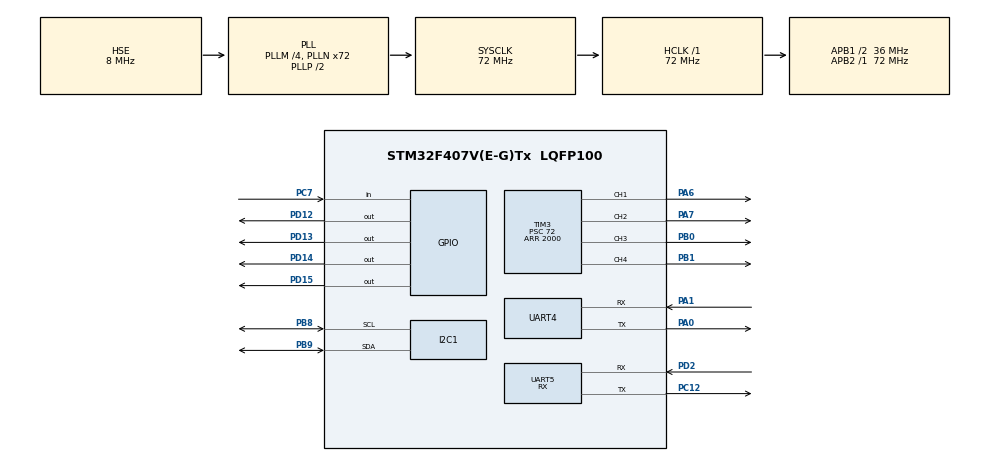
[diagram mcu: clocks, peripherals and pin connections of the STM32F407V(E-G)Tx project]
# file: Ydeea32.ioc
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FREERTOS.INCLUDE_vTaskDelayUntil=1
FREERTOS.Tasks01=defaultTask,-1,128,StartDefaultTask,Default,NULL,Dynamic,NULL,NULL;testTask10ms,0,128,Main_10ms,Default,NULL,Static,testTask10msBuffer,testTask10msControlBlock;IdleTask,-3,128,IdleTask_func,Default,NULL,Dynamic,NULL,NULL;SensorInputTask,2,3000,SensorInputTask_func,Default,NULL,Dynamic,NULL,NULL;AttitudeCalc,1,3000,AttitudeCalc_func,Default,NULL,Static,AttitudeCalcBuffer,AttitudeCalcControlBlock;telemetryTask,-2,512,telemetryTask_func,Default,NULL,Dynamic,NULL,NULL;OutputTask,1,2400,OutputTask_Main,Default,NULL,Dynamic,NULL,NULL;rcInputTask,3,128,rcInputTask_func,Default,NULL,Dynamic,NULL,NULL
FREERTOS.configTOTAL_HEAP_SIZE=26360
I2C1.I2C_Mode=I2C_Standard
Mcu.Family=STM32F4
Mcu.Name=STM32F407V(E-G)Tx
Mcu.Package=LQFP100
NVIC.PriorityGroup=NVIC_PRIORITYGROUP_4
NVIC.TIM1_UP_TIM10_IRQn=true\:0\:0\:false\:false\:true\:false\:false\:true
NVIC.TimeBase=TIM1_UP_TIM10_IRQn
NVIC.TimeBaseIP=TIM1
NVIC.UART5_IRQn=true\:5\:0\:false\:false\:true\:true\:true\:true
PA0-WKUP.Mode=Multiprocessor_communication
PA0-WKUP.Signal=UART4_TX
PA1.Mode=Multiprocessor_communication
PA1.Signal=UART4_RX
PA13.Mode=JTAG_4_pins
PA13.Signal=SYS_JTMS-SWDIO
PA14.Mode=JTAG_4_pins
PA14.Signal=SYS_JTCK-SWCLK
PA15.Mode=JTAG_4_pins
PA15.Signal=SYS_JTDI
PA6.GPIO_PuPd=GPIO_PULLDOWN
PA6.GPIO_Speed=GPIO_SPEED_FREQ_MEDIUM
PA6.Signal=S_TIM3_CH1
PA7.GPIO_PuPd=GPIO_PULLDOWN
PA7.GPIO_Speed=GPIO_SPEED_FREQ_MEDIUM
PA7.Signal=S_TIM3_CH2
PB0.GPIO_PuPd=GPIO_PULLDOWN
PB0.GPIO_Speed=GPIO_SPEED_FREQ_MEDIUM
PB0.Signal=S_TIM3_CH3
PB1.GPIO_PuPd=GPIO_PULLDOWN
PB1.GPIO_Speed=GPIO_SPEED_FREQ_MEDIUM
PB1.Signal=S_TIM3_CH4
PB3.Mode=JTAG_4_pins
PB3.Signal=SYS_JTDO-SWO
PB8.GPIO_Pu=GPIO_PULLUP
PB8.Mode=I2C
PB8.Signal=I2C1_SCL
PB9.GPIO_Pu=GPIO_PULLUP
PB9.Mode=I2C
PB9.Signal=I2C1_SDA
PC12.Mode=Asynchronous
PC12.Signal=UART5_TX
PC7.Signal=GPIO_Input
PD12.Signal=GPIO_Output
PD13.Signal=GPIO_Output
PD14.Signal=GPIO_Output
PD15.Signal=GPIO_Output
PD2.Mode=Asynchronous
PD2.Signal=UART5_RX
PH0-OSC_IN.Mode=HSE-External-Oscillator
PH0-OSC_IN.Signal=RCC_OSC_IN
PH1-OSC_OUT.Mode=HSE-External-Oscillator
PH1-OSC_OUT.Signal=RCC_OSC_OUT
ProjectManager.HeapSize=0x200
ProjectManager.StackSize=0x400
ProjectManager.TargetToolchain=STM32CubeIDE
RCC.48MHZClocksFreq_Value=48000000
RCC.AHBFreq_Value=72000000
RCC.APB1CLKDivider=RCC_HCLK_DIV2
RCC.APB1Freq_Value=36000000
RCC.APB1TimFreq_Value=72000000
RCC.APB2Freq_Value=72000000
RCC.APB2TimFreq_Value=72000000
RCC.CortexFreq_Value=72000000
RCC.HCLKFreq_Value=72000000
RCC.HSE_VALUE=8000000
RCC.HSI_VALUE=16000000
RCC.LSE_VALUE=32768
RCC.PLLM=4
RCC.PLLN=72
RCC.PLLQ=3
RCC.PLLSourceVirtual=RCC_PLLSOURCE_HSE
RCC.SYSCLKFreq_VALUE=72000000
RCC.SYSCLKSource=RCC_SYSCLKSOURCE_PLLCLK
RCC.VCOOutputFreq_Value=144000000
SH.S_TIM3_CH1.0=TIM3_CH1,Output Compare1 CH1
SH.S_TIM3_CH2.0=TIM3_CH2,Output Compare2 CH2
SH.S_TIM3_CH3.0=TIM3_CH3,Output Compare3 CH3
SH.S_TIM3_CH4.0=TIM3_CH4,Output Compare4 CH4
TIM3.AutoReloadPreload=TIM_AUTORELOAD_PRELOAD_ENABLE
TIM3.Channel-Output\ Compare1\ CH1=TIM_CHANNEL_1
TIM3.Channel-Output\ Compare2\ CH2=TIM_CHANNEL_2
TIM3.Channel-Output\ Compare3\ CH3=TIM_CHANNEL_3
TIM3.Channel-Output\ Compare4\ CH4=TIM_CHANNEL_4
TIM3.CounterMode=TIM_COUNTERMODE_DOWN
TIM3.OCMode_1=TIM_OCMODE_ACTIVE
TIM3.OCMode_2=TIM_OCMODE_ACTIVE
TIM3.OCMode_3=TIM_OCMODE_ACTIVE
TIM3.OCMode_4=TIM_OCMODE_ACTIVE
TIM3.Period=2000
TIM3.Prescaler=72
UART4.VirtualMode=Asynchronous
UART5.Mode=MODE_RX
UART5.VirtualMode=Asynchronous
VP_FREERTOS_VS_CMSIS_V1.Mode=CMSIS_V1
VP_SYS_VS_tim1.Mode=TIM1
VP_TIM3_VS_ClockSourceINT.Mode=Internal
board=custom

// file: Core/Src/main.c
/* USER CODE BEGIN Header */
/**
  ******************************************************************************
  * @file           : main.c
  * @brief          : Main program body
  ******************************************************************************
  * @attention
  *
  * <h2><center>&copy; Copyright (c) 2019 STMicroelectronics.
  * All rights reserved.</center></h2>
  *
  * This software component is licensed by ST under Ultimate Liberty license
  * SLA0044, the "License"; You may not use this file except in compliance with
  * the License. You may obtain a copy of the License at:
  *                             www.st.com/SLA0044
  *	  //ADXL345: R: 0xA7 W: 0xA6
  *  //L3g4200D: R: 0xD3 W: 0xD2
  ******************************************************************************
  */
/* USER CODE END Header */
#include "main.h"
#include "cmsis_os.h"

/* USER CODE BEGIN Includes */
#include "sensors.h"
#include "attitude_calc.h"
#include "pid.h"
#include "output.h"
/* USER CODE END Includes */

/* USER CODE BEGIN PTD */
typedef struct {
	short PitchAngle;
	short RollAngle;
	short RawYawRate;
}usefulData_t;
typedef struct {
	usefulData_t Data;
	unsigned char FrameNumber;
	unsigned char StopBuffer;
}telemetryStruct_t;

/* USER CODE END PTD */

/* USER CODE BEGIN PD */
//#define USE_HAL_UART_REGISTER_CALLBACKS
/* USER CODE END PD */

I2C_HandleTypeDef hi2c1;

TIM_HandleTypeDef htim3;

UART_HandleTypeDef huart4;
UART_HandleTypeDef huart5;

osThreadId defaultTaskHandle;
osThreadId testTask10msHandle;
uint32_t testTask10msBuffer[ 128 ];
osStaticThreadDef_t testTask10msControlBlock;
osThreadId IdleTaskHandle;
osThreadId SensorInputTaskHandle;
osThreadId AttitudeCalcHandle;
uint32_t AttitudeCalcBuffer[ 3000 ];
osStaticThreadDef_t AttitudeCalcControlBlock;
osThreadId telemetryTaskHandle;
osThreadId OutputTaskHandle;
osThreadId rcInputTaskHandle;
/* USER CODE BEGIN PV */
uint8_t firstRun;
uint32_t tickValOn, tickValOff, sensorInputTime, telemetryTime, rcInputTime;
/*===Telemetry Variables===*/
telemetryStruct_t telemetryData;
/*=== Structure where to put the read data from the gyro ===*/
gyro_input_struct_t GYRO_RAW_INPUT_STRUCT;
acc_input_struct_t ACC_RAW_INPUT_STRUCT;
//mag_input_struct_t MAG_RAW_INPUT_STRUCT;

unsigned char rcDataReceived, syncIsRunning;
unsigned char rcDataBuffer[40];

extern unsigned char Red, Green, Blue, Orange;

const unsigned char GyroResetVal = 0x80;

/* USER CODE END PV */

void SystemClock_Config(void);
static void MX_GPIO_Init(void);
static void MX_I2C1_Init(void);
static void MX_UART4_Init(void);
static void MX_TIM3_Init(void);
static void MX_UART5_Init(void);
void StartDefaultTask(void const * argument);
void Main_10ms(void const * argument);
void IdleTask_func(void const * argument);
void SensorInputTask_func(void const * argument);
void AttitudeCalc_func(void const * argument);
void telemetryTask_func(void const * argument);
void OutputTask_Main(void const * argument);
void rcInputTask_func(void const * argument);

/* USER CODE BEGIN 0 */
pUART_CallbackTypeDef rcCompleteCbk(void)
{
	/*well, do something!!!! :)*/;
}
/* USER CODE END 0 */

int main(void)
{

  /* MCU Configuration--------------------------------------------------------*/

  /* Reset of all peripherals, Initializes the Flash interface and the Systick. */
  HAL_Init();

  /* Configure the system clock */
  SystemClock_Config();

  /* Initialize all configured peripherals */
  MX_GPIO_Init();
  MX_I2C1_Init();
  MX_UART4_Init();
  MX_TIM3_Init();
  MX_UART5_Init();
  /* USER CODE BEGIN 2 */
  firstRun = 1;
  HAL_UART_RegisterCallback(&huart5, HAL_UART_RX_COMPLETE_CB_ID, *rcCompleteCbk);
  //(void)HAL_I2C_Mem_Write(&hi2c1, 0xA6, 0x2D, 1, &AccResetVal, 1, 100);
  /*ReBOOT the gyroscope at startup to clear previous initializations*/
  (void)HAL_I2C_Mem_Write(&hi2c1, 0xD2, 0x24, 1, &GyroResetVal, 1, 100);
  /* USER CODE END 2 */

  /* Create the thread(s) */
  /* definition and creation of defaultTask */
  osThreadDef(defaultTask, StartDefaultTask, osPriorityBelowNormal, 0, 128);
  defaultTaskHandle = osThreadCreate(osThread(defaultTask), NULL);

  /* definition and creation of testTask10ms */
  osThreadStaticDef(testTask10ms, Main_10ms, osPriorityNormal, 0, 128, testTask10msBuffer, &testTask10msControlBlock);
  testTask10msHandle = osThreadCreate(osThread(testTask10ms), NULL);

  /* definition and creation of IdleTask */
  osThreadDef(IdleTask, IdleTask_func, osPriorityIdle, 0, 128);
  IdleTaskHandle = osThreadCreate(osThread(IdleTask), NULL);

  /* definition and creation of SensorInputTask */
  osThreadDef(SensorInputTask, SensorInputTask_func, osPriorityHigh, 0, 3000);
  SensorInputTaskHandle = osThreadCreate(osThread(SensorInputTask), NULL);

  /* definition and creation of AttitudeCalc */
  osThreadStaticDef(AttitudeCalc, AttitudeCalc_func, osPriorityAboveNormal, 0, 3000, AttitudeCalcBuffer, &AttitudeCalcControlBlock);
  AttitudeCalcHandle = osThreadCreate(osThread(AttitudeCalc), NULL);

  /* definition and creation of telemetryTask */
  osThreadDef(telemetryTask, telemetryTask_func, osPriorityLow, 0, 512);
  telemetryTaskHandle = osThreadCreate(osThread(telemetryTask), NULL);

  /* definition and creation of OutputTask */
  osThreadDef(OutputTask, OutputTask_Main, osPriorityAboveNormal, 0, 2400);
  OutputTaskHandle = osThreadCreate(osThread(OutputTask), NULL);

  /* definition and creation of rcInputTask */
  osThreadDef(rcInputTask, rcInputTask_func, osPriorityRealtime, 0, 128);
  rcInputTaskHandle = osThreadCreate(osThread(rcInputTask), NULL);

  /* Start scheduler */
  osKernelStart();

  /* We should never get here as control is now taken by the scheduler */
  /* Infinite loop */
  while (1)
  {

  }
}

void SystemClock_Config(void)
{
  RCC_OscInitTypeDef RCC_OscInitStruct = {0};
  RCC_ClkInitTypeDef RCC_ClkInitStruct = {0};

  /** Configure the main internal regulator output voltage
  */
  __HAL_RCC_PWR_CLK_ENABLE();
  __HAL_PWR_VOLTAGESCALING_CONFIG(PWR_REGULATOR_VOLTAGE_SCALE1);
  /** Initializes the RCC Oscillators according to the specified parameters
  * in the RCC_OscInitTypeDef structure.
  */
  RCC_OscInitStruct.OscillatorType = RCC_OSCILLATORTYPE_HSE;
  RCC_OscInitStruct.HSEState = RCC_HSE_ON;
  RCC_OscInitStruct.PLL.PLLState = RCC_PLL_ON;
  RCC_OscInitStruct.PLL.PLLSource = RCC_PLLSOURCE_HSE;
  RCC_OscInitStruct.PLL.PLLM = 4;
  RCC_OscInitStruct.PLL.PLLN = 72;
  RCC_OscInitStruct.PLL.PLLP = RCC_PLLP_DIV2;
  RCC_OscInitStruct.PLL.PLLQ = 3;
  if (HAL_RCC_OscConfig(&RCC_OscInitStruct) != HAL_OK)
  {
    Error_Handler();
  }
  /** Initializes the CPU, AHB and APB buses clocks
  */
  RCC_ClkInitStruct.ClockType = RCC_CLOCKTYPE_HCLK|RCC_CLOCKTYPE_SYSCLK
                              |RCC_CLOCKTYPE_PCLK1|RCC_CLOCKTYPE_PCLK2;
  RCC_ClkInitStruct.SYSCLKSource = RCC_SYSCLKSOURCE_PLLCLK;
  RCC_ClkInitStruct.AHBCLKDivider = RCC_SYSCLK_DIV1;
  RCC_ClkInitStruct.APB1CLKDivider = RCC_HCLK_DIV2;
  RCC_ClkInitStruct.APB2CLKDivider = RCC_HCLK_DIV1;

  if (HAL_RCC_ClockConfig(&RCC_ClkInitStruct, FLASH_LATENCY_2) != HAL_OK)
  {
    Error_Handler();
  }
}

static void MX_I2C1_Init(void)
{

  hi2c1.Instance = I2C1;
  hi2c1.Init.ClockSpeed = 100000;
  hi2c1.Init.DutyCycle = I2C_DUTYCYCLE_2;
  hi2c1.Init.OwnAddress1 = 0;
  hi2c1.Init.AddressingMode = I2C_ADDRESSINGMODE_7BIT;
  hi2c1.Init.DualAddressMode = I2C_DUALADDRESS_DISABLE;
  hi2c1.Init.OwnAddress2 = 0;
  hi2c1.Init.GeneralCallMode = I2C_GENERALCALL_DISABLE;
  hi2c1.Init.NoStretchMode = I2C_NOSTRETCH_DISABLE;
  if (HAL_I2C_Init(&hi2c1) != HAL_OK)
  {
    Error_Handler();
  }

}

static void MX_TIM3_Init(void)
{

  TIM_ClockConfigTypeDef sClockSourceConfig = {0};
  TIM_MasterConfigTypeDef sMasterConfig = {0};
  TIM_OC_InitTypeDef sConfigOC = {0};

  htim3.Instance = TIM3;
  htim3.Init.Prescaler = 72;
  htim3.Init.CounterMode = TIM_COUNTERMODE_DOWN;
  htim3.Init.Period = 2000;
  htim3.Init.ClockDivision = TIM_CLOCKDIVISION_DIV1;
  htim3.Init.AutoReloadPreload = TIM_AUTORELOAD_PRELOAD_ENABLE;
  if (HAL_TIM_Base_Init(&htim3) != HAL_OK)
  {
    Error_Handler();
  }
  sClockSourceConfig.ClockSource = TIM_CLOCKSOURCE_INTERNAL;
  if (HAL_TIM_ConfigClockSource(&htim3, &sClockSourceConfig) != HAL_OK)
  {
    Error_Handler();
  }
  if (HAL_TIM_OC_Init(&htim3) != HAL_OK)
  {
    Error_Handler();
  }
  sMasterConfig.MasterOutputTrigger = TIM_TRGO_RESET;
  sMasterConfig.MasterSlaveMode = TIM_MASTERSLAVEMODE_DISABLE;
  if (HAL_TIMEx_MasterConfigSynchronization(&htim3, &sMasterConfig) != HAL_OK)
  {
    Error_Handler();
  }
  sConfigOC.OCMode = TIM_OCMODE_ACTIVE;
  sConfigOC.Pulse = 0;
  sConfigOC.OCPolarity = TIM_OCPOLARITY_HIGH;
  sConfigOC.OCFastMode = TIM_OCFAST_DISABLE;
  if (HAL_TIM_OC_ConfigChannel(&htim3, &sConfigOC, TIM_CHANNEL_1) != HAL_OK)
  {
    Error_Handler();
  }
  if (HAL_TIM_OC_ConfigChannel(&htim3, &sConfigOC, TIM_CHANNEL_2) != HAL_OK)
  {
    Error_Handler();
  }
  if (HAL_TIM_OC_ConfigChannel(&htim3, &sConfigOC, TIM_CHANNEL_3) != HAL_OK)
  {
    Error_Handler();
  }
  if (HAL_TIM_OC_ConfigChannel(&htim3, &sConfigOC, TIM_CHANNEL_4) != HAL_OK)
  {
    Error_Handler();
  }
  /* USER CODE BEGIN TIM3_Init 2 */
	HAL_TIM_OC_Start(&htim3, TIM_CHANNEL_1);
	HAL_TIM_OC_Start(&htim3, TIM_CHANNEL_2);
	HAL_TIM_OC_Start(&htim3, TIM_CHANNEL_3);
	HAL_TIM_OC_Start(&htim3, TIM_CHANNEL_4);
  /* USER CODE END TIM3_Init 2 */
  HAL_TIM_MspPostInit(&htim3);

}

static void MX_UART4_Init(void)
{

  huart4.Instance = UART4;
  huart4.Init.BaudRate = 115200;
  huart4.Init.WordLength = UART_WORDLENGTH_8B;
  huart4.Init.StopBits = UART_STOPBITS_1;
  huart4.Init.Parity = UART_PARITY_NONE;
  huart4.Init.Mode = UART_MODE_TX_RX;
  huart4.Init.HwFlowCtl = UART_HWCONTROL_NONE;
  huart4.Init.OverSampling = UART_OVERSAMPLING_16;
  if (HAL_MultiProcessor_Init(&huart4, 0, UART_WAKEUPMETHOD_IDLELINE) != HAL_OK)
  {
    Error_Handler();
  }

}

static void MX_UART5_Init(void)
{

  huart5.Instance = UART5;
  huart5.Init.BaudRate = 115200;
  huart5.Init.WordLength = UART_WORDLENGTH_8B;
  huart5.Init.StopBits = UART_STOPBITS_1;
  huart5.Init.Parity = UART_PARITY_NONE;
  huart5.Init.Mode = UART_MODE_RX;
  huart5.Init.HwFlowCtl = UART_HWCONTROL_NONE;
  huart5.Init.OverSampling = UART_OVERSAMPLING_16;
  if (HAL_UART_Init(&huart5) != HAL_OK)
  {
    Error_Handler();
  }

}

static void MX_GPIO_Init(void)
{
  GPIO_InitTypeDef GPIO_InitStruct = {0};

  /* GPIO Ports Clock Enable */
  __HAL_RCC_GPIOH_CLK_ENABLE();
  __HAL_RCC_GPIOA_CLK_ENABLE();
  __HAL_RCC_GPIOB_CLK_ENABLE();
  __HAL_RCC_GPIOD_CLK_ENABLE();
  __HAL_RCC_GPIOC_CLK_ENABLE();

  /*Configure GPIO pin Output Level */
  HAL_GPIO_WritePin(GPIOD, GPIO_PIN_12|GPIO_PIN_13|GPIO_PIN_14|GPIO_PIN_15, GPIO_PIN_RESET);

  /*Configure GPIO pins : PD12 PD13 PD14 PD15 */
  GPIO_InitStruct.Pin = GPIO_PIN_12|GPIO_PIN_13|GPIO_PIN_14|GPIO_PIN_15;
  GPIO_InitStruct.Mode = GPIO_MODE_OUTPUT_PP;
  GPIO_InitStruct.Pull = GPIO_NOPULL;
  GPIO_InitStruct.Speed = GPIO_SPEED_FREQ_LOW;
  HAL_GPIO_Init(GPIOD, &GPIO_InitStruct);

  /*Configure GPIO pin : PC7 */
  GPIO_InitStruct.Pin = GPIO_PIN_7;
  GPIO_InitStruct.Mode = GPIO_MODE_INPUT;
  GPIO_InitStruct.Pull = GPIO_NOPULL;
  HAL_GPIO_Init(GPIOC, &GPIO_InitStruct);

}

void StartDefaultTask(void const * argument)
{
  /* USER CODE BEGIN 5 */
	static unsigned char LoopCounter = 0;
	static unsigned char Red1, Green1, Blue1, Orange1;
  /* Infinite loop */
  for(;;)
  {
	  /*Check the LED*/
	  if(LoopCounter == 0)
	  {
		  tickValOn = xTaskGetTickCount();
		  HAL_GPIO_WritePin(GPIOD, GPIO_PIN_12, GPIO_PIN_SET);
		  HAL_GPIO_WritePin(GPIOD, GPIO_PIN_13, GPIO_PIN_SET);
		  HAL_GPIO_WritePin(GPIOD, GPIO_PIN_14, GPIO_PIN_SET);
		  HAL_GPIO_WritePin(GPIOD, GPIO_PIN_15, GPIO_PIN_SET);
		  Red1 = Red;
		  Green1 = Green;
		  Blue1 = Blue;
		  Orange1 = Orange;
	  }
	  if(Red1 <= LoopCounter)
	  {
		  HAL_GPIO_WritePin(GPIOD, GPIO_PIN_14, GPIO_PIN_RESET);
	  }
	  if(Green1 <= LoopCounter)
	  {
		  HAL_GPIO_WritePin(GPIOD, GPIO_PIN_12, GPIO_PIN_RESET);
	  }
	  if(Blue1 <= LoopCounter)
	  {
		  HAL_GPIO_WritePin(GPIOD, GPIO_PIN_15, GPIO_PIN_RESET);
	  }
	  if(Orange1 <= LoopCounter)
	  {
		  HAL_GPIO_WritePin(GPIOD, GPIO_PIN_13, GPIO_PIN_RESET);
	  }
	  if (LoopCounter==9)
	  {
		  LoopCounter = 0;
	  }
	  else
	  {
		  LoopCounter++;
	  }
	  osDelayUntil(&tickValOn, 1);
  }
  /* USER CODE END 5 */
}

void Main_10ms(void const * argument)
{
  /* USER CODE BEGIN Main_10ms */
  /* Infinite loop */
  for(;;)
  {
	  if(firstRun == 1)
	  {
		  firstRun = 0;
		  Init_PID = 1;
		  tickValOff = xTaskGetTickCount(); /*Initialize the tick counter value for task scheduling*/
		  osDelayUntil(&tickValOff,500); /*wait for 500ms until we call this task to switch off the LED*/
	  }
	  else
	  {
		  /*Switch OFF LED*/
		  //HAL_GPIO_WritePin(GPIOD, GPIO_PIN_13, GPIO_PIN_RESET);
		  /*set next task activation time*/
		  osDelayUntil(&tickValOff, 1000);
	  }
  }
  /* USER CODE END Main_10ms */
}

void IdleTask_func(void const * argument)
{
  /* USER CODE BEGIN IdleTask_func */
  /* Infinite loop */
  for(;;)
  {
    osDelay(10000);
  }
  /* USER CODE END IdleTask_func */
}

void SensorInputTask_func(void const * argument)
{
  /* USER CODE BEGIN SensorInputTask_func */
	unsigned char sensorInput, retVal, whoAmIAcc, whoAmIGyro, retValGyro;
	static unsigned char sensorInitState = 0;

	whoAmIAcc = 0xFF;
	whoAmIGyro = 0xFF;
  /* Infinite loop */
  for(;;)
  {
	  calcStateMachine();
	  /*Check if the correct sensors are present on IMU board*/
	  if(sensorInitState == 0)
	  {
		  GYRO_DATA_STRUCT.GYRO_RAW_X_ANGLE_VEL = 0;
		  GYRO_DATA_STRUCT.GYRO_X_ANGLE_TO_EARTH = 0;
		  GYRO_DATA_STRUCT.GYRO_RAW_Y_ANGLE_VEL = 0;
		  GYRO_DATA_STRUCT.GYRO_Y_ANGLE_TO_EARTH = 0;
		  GYRO_DATA_STRUCT.GYRO_RAW_Z_ANGLE_VEL = 0;
		  GYRO_DATA_STRUCT.GYRO_Z_ANGLE_TO_EARTH = 0;
		  retVal = HAL_I2C_Mem_Read(&hi2c1, 0xA7, 0x0, 1, &sensorInput, 1, 100);
		  if (retVal == 0)
		  {
			whoAmIAcc = sensorInput;
		  }

		  retVal = HAL_I2C_Mem_Read(&hi2c1, 0xD3, 0x0F, 1, &sensorInput, 1, 100);
		  if (retVal == 0)
		  {
			  whoAmIGyro = sensorInput;
		  }

		  if ((whoAmIAcc == 0xE5) && (whoAmIGyro == 0xD3))
		  {
			  unsigned char ACC_INIT_VAL = 0x8;
			  unsigned char ACC_FIFO_INIT_VAL = 0xC0;
			  unsigned char GYRO_INIT_VAL[5] = {0x4F, 0x21, 0x0, 0x0, 0x0};
			  unsigned char GYRO_FIFO_INIT_VAL = 0x0;

			  sensorInitState = 1;
			  /*Initialize the sensors*/
			  /*ACC init routine*/
			  retVal = HAL_I2C_Mem_Write(&hi2c1, 0xA6, 0x2D, 1, &ACC_INIT_VAL, 1, 100);
			  if(retVal == 0)
			  {
				  retVal = HAL_I2C_Mem_Write(&hi2c1, 0xA6, 0x38, 1, &ACC_FIFO_INIT_VAL, 1, 100);
			  }
			  /*GYRO init routine*/
			  retValGyro = HAL_I2C_Mem_Write(&hi2c1, 0xD2, 0xA0, 1, &GYRO_INIT_VAL, 5, 100);
			  if(retValGyro == 0)
			  {
				  retValGyro = HAL_I2C_Mem_Write(&hi2c1, 0xD2, 0xAE, 1, &GYRO_FIFO_INIT_VAL, 1, 100);
			  }

			  if((retValGyro == 0)&&(retVal == 0))
			  {
				  /*Correct sensors found, init complete, program can continue*/
				  HAL_GPIO_WritePin(GPIOD, GPIO_PIN_15, GPIO_PIN_SET);
			  }
			  /*Save the timestamp for future task scheduling*/
			  sensorInputTime = xTaskGetTickCount();
		  }
		  else
		  {
			  /*At least one sensor was not the expected one, so no-go*/
			  HAL_GPIO_WritePin(GPIOD, GPIO_PIN_15, GPIO_PIN_RESET);
		  }
	  }
	  else
	  {
		  /*Read Raw sensor data*/
		  taskENTER_CRITICAL();
		  retVal = HAL_I2C_Mem_Read(&hi2c1, 0xA7, 0x32, 1, (unsigned char *)&ACC_RAW_INPUT_STRUCT, 6, 100);
		  retVal = HAL_I2C_Mem_Read(&hi2c1, 0xD3, 0xA6, 1, (unsigned char *)&GYRO_RAW_INPUT_STRUCT, 8, 100);
		  taskEXIT_CRITICAL();
		  gyroCalculateData();
		  accCalculateData();
		  /*Unblock the Attitude processing task*/
		  //osSignalSet(AttitudeCalcHandle, 1);
		  /*TODO: add SD card memory handling - save data in an array so the telemetry task can write it to SD later*/
		  osThreadResume(AttitudeCalcHandle);
	  }
	  osDelayUntil(&sensorInputTime, 5);
  }
  /* USER CODE END SensorInputTask_func */
}

void AttitudeCalc_func(void const * argument)
{
  /* USER CODE BEGIN AttitudeCalc_func */
//	uint32_t ulNotifiedValue;
  /* Infinite loop */
  for(;;)
  {
//	  xTaskNotifyWait( 0x00, /* Don't clear any notification bits on entry. */
//			  	  	  ULONG_MAX, /* Reset the notification value to 0 on exit. */
//					  &ulNotifiedValue, /* Notified value pass out in ulNotifiedValue. */
//					  portMAX_DELAY ); /* Block indefinitely. */
	  //callCounter++;
	  calcActualAngle();
	  //osSignalWait(0,0);
	  //osDelay(1000);
	  /*Unblock the Output task to begin output calculations*/
	  osThreadResume(OutputTaskHandle);
	  osThreadSuspend(AttitudeCalcHandle);
  }
  /* USER CODE END AttitudeCalc_func */
}

void telemetryTask_func(void const * argument)
{
  /* USER CODE BEGIN telemetryTask_func */
  telemetryData.StopBuffer = 0xAA;
  telemetryData.FrameNumber = 0;
  /* Infinite loop */
  for(;;)
  {
    /*osDelay(1);*/
    telemetryTime = xTaskGetTickCount();
    /*Arrange serial buffer to be transmitted to ESP32*/
    telemetryData.Data.PitchAngle = (short)(actualPitchAngle*10);
    telemetryData.Data.RollAngle = (short)(actualRollAngle*10);
    telemetryData.Data.RawYawRate = (short)(actualRawYawRate*10);
    telemetryData.FrameNumber++;
    /*Start data transmission*/
    HAL_UART_Transmit(&huart4, (uint8_t *)&telemetryData, sizeof(telemetryData), 1);
    /*Re-activate task each 100ms*/
    osDelayUntil(&telemetryTime, 100);
  }
  /* USER CODE END telemetryTask_func */
}

void OutputTask_Main(void const * argument)
{
  /* USER CODE BEGIN OutputTask_Main */
  /* Infinite loop */
  for(;;)
  {
	PID_Main();
	PWM_Main();
	osThreadSuspend(OutputTaskHandle);
  }
  /* USER CODE END OutputTask_Main */
}

void rcInputTask_func(void const * argument)
{
  /* USER CODE BEGIN rcInputTask_func */
	//rcDataBuffer
	static unsigned char noRcDataCounter;
	noRcDataCounter = 0;
	syncIsRunning = 1;
	/*Enable reception interrupt*/
	__HAL_UART_ENABLE_IT(&huart5, UART_IT_RXNE);
  /* Infinite loop */
  for(;;)
  {
	  rcInputTime = xTaskGetTickCount();
	  if(syncIsRunning == 1)
	  {
		  if(rcDataReceived == 0)
		  {
			  if(++noRcDataCounter == 3)/*wait 3 ms to be sure no Rx messages are in*/
			  {
				  noRcDataCounter = 0;
				  syncIsRunning = 0;
			  }
		  }
		  else
		  {
			  rcDataReceived = 0;/*do nothing, just wait for sync to finish*/;
		  }

	  }
	  if(syncIsRunning == 0)
	  {
		  HAL_UART_Receive_IT(&huart5, rcDataBuffer, 0x20);
	  }
	  osDelayUntil(&rcInputTime, 1);
  }
  /* USER CODE END rcInputTask_func */
}

void HAL_TIM_PeriodElapsedCallback(TIM_HandleTypeDef *htim)
{
  if (htim->Instance == TIM1) {
    HAL_IncTick();
  }
}

void Error_Handler(void)
{
}

/************************ (C) COPYRIGHT STMicroelectronics *****END OF FILE****/
